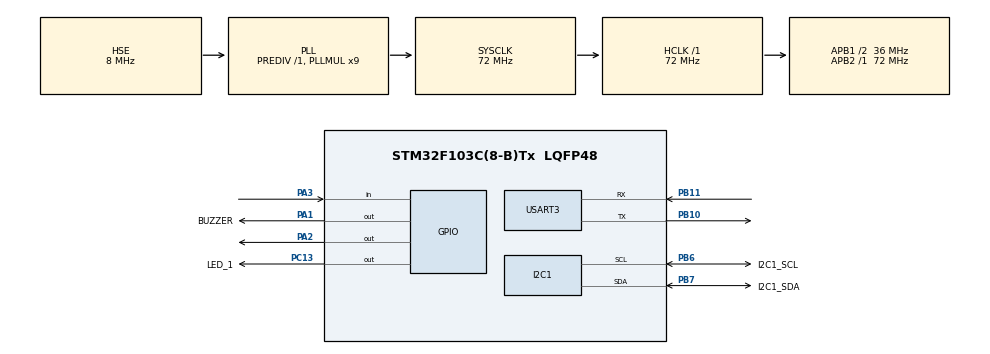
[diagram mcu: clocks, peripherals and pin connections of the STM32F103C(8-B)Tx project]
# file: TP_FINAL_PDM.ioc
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Mcu.Family=STM32F1
Mcu.Name=STM32F103C(8-B)Tx
Mcu.Package=LQFP48
NVIC.PriorityGroup=NVIC_PRIORITYGROUP_4
PA1.GPIO_Label=BUZZER
PA1.Signal=GPIO_Output
PA13.Mode=Serial_Wire
PA13.Signal=SYS_JTMS-SWDIO
PA14.Mode=Serial_Wire
PA14.Signal=SYS_JTCK-SWCLK
PA2.Signal=GPIO_Output
PA3.Signal=GPIO_Input
PB10.Mode=Asynchronous
PB10.Signal=USART3_TX
PB11.Mode=Asynchronous
PB11.Signal=USART3_RX
PB6.GPIO_Label=I2C1_SCL
PB6.Mode=I2C
PB6.Signal=I2C1_SCL
PB7.GPIO_Label=I2C1_SDA
PB7.Mode=I2C
PB7.Signal=I2C1_SDA
PC13-TAMPER-RTC.GPIO_Label=LED_1
PC13-TAMPER-RTC.Signal=GPIO_Output
PC14-OSC32_IN.Mode=LSE-External-Oscillator
PC14-OSC32_IN.Signal=RCC_OSC32_IN
PC15-OSC32_OUT.Mode=LSE-External-Oscillator
PC15-OSC32_OUT.Signal=RCC_OSC32_OUT
PD0-OSC_IN.Mode=HSE-External-Oscillator
PD0-OSC_IN.Signal=RCC_OSC_IN
PD1-OSC_OUT.Mode=HSE-External-Oscillator
PD1-OSC_OUT.Signal=RCC_OSC_OUT
ProjectManager.HeapSize=0x200
ProjectManager.StackSize=0x400
ProjectManager.TargetToolchain=STM32CubeIDE
RCC.AHBFreq_Value=72000000
RCC.APB1CLKDivider=RCC_HCLK_DIV2
RCC.APB1Freq_Value=36000000
RCC.APB1TimFreq_Value=72000000
RCC.APB2Freq_Value=72000000
RCC.APB2TimFreq_Value=72000000
RCC.HCLKFreq_Value=72000000
RCC.PLLMUL=RCC_PLL_MUL9
RCC.PLLSourceVirtual=RCC_PLLSOURCE_HSE
RCC.SYSCLKFreq_VALUE=72000000
RCC.SYSCLKSource=RCC_SYSCLKSOURCE_PLLCLK
RCC.USBFreq_Value=72000000
USART3.VirtualMode=VM_ASYNC
board=custom

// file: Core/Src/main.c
/* USER CODE BEGIN Header */
/**
 ******************************************************************************
 * @file           : main.c
 * @brief          : Main program body
 ******************************************************************************
 * @attention
 *
 * Esta es la implementacion de un sistema de deteccion de caidas, fue desarrollado
 * para la catedra de programacion de microcontroladores. de la carrera de
 * especializacion en sistemas embebidos.
 * El hardware utilizado para dicho programa es un STM32F103C8 (Bluepill) en
 * conjunto a un MPU6050, un buzzer y boton, para más detalle acerca de esto
 * visitar el siguiente repositorio:
 *
 * 	https://github.com/ncettra/PdM_workspace/PFINAL
 *
 * Este desarrollo ha sido realizado utilizando el IDE de STM32Cube, por ende las
 * funciones de la HAL son las propinadas por ellos.
 *
 * Para más informacion acerca del driver del MPU6050 desarrollado para la catedra
 * de protocolos de comunicacion en sistemas embebidos de la misma especializacion
 * visitar el siguiente repositorio:
 *
 * 	https://github.com/ncettra/MPU6050
 *
 *
 ******************************************************************************
 */
/* USER CODE END Header */
#include "main.h"

I2C_HandleTypeDef hi2c1;
UART_HandleTypeDef huart3;
const char* MCU_INIT_MSG = "\n\rStart OK";
const char* MPU6050_ERROR_MSG = "\n\rError! MPU6050 not detected, Rebooting...";
const char* MPU6050_INIT_MSG = "\n\rMPU6050 detected...";

void SystemClock_Config(void);
static void MX_GPIO_Init(void);
static void MX_I2C1_Init(void);
static void MX_USART3_UART_Init(void);

int main(void)
{
	/* USER CODE BEGIN 1 */
	delay_t uartDebugDelay;
	mpu6050_t mpu6050;

	/* USER CODE END 1 */

	/* MCU Configuration--------------------------------------------------------*/

	/* Reset of all peripherals, Initializes the Flash interface and the Systick. */
	HAL_Init();

	/* Configure the system clock */
	SystemClock_Config();

	/* Initialize all configured peripherals */
	MX_GPIO_Init();
	MX_I2C1_Init();
	MX_USART3_UART_Init();
	/* USER CODE BEGIN 2 */
	HAL_GPIO_WritePin(BUZZER_GPIO_Port, BUZZER_Pin,1);
	HAL_Delay(1000);
	HAL_UART_Transmit(&huart3,(uint8_t *)MCU_INIT_MSG,strlen(MCU_INIT_MSG),10);

	//Para debugear por puerto serie
	delayInit(&uartDebugDelay, 2000);
	char formatData[256];

	//Inicializamos el MPU
	while (!mpuInit(&hi2c1)){
		HAL_UART_Transmit(&huart3,(uint8_t*)MPU6050_ERROR_MSG,strlen(MPU6050_ERROR_MSG),10);
		NVIC_SystemReset();
	}
	HAL_UART_Transmit(&huart3,(uint8_t*)MPU6050_INIT_MSG,strlen(MPU6050_INIT_MSG),10);
	initAlertControl(1,5000,&huart3); //Inicio la MEF

	/* USER CODE END 2 */

	/* Infinite loop */
	/* USER CODE BEGIN WHILE */
	while (1)
	{

		mpuUpdate(&hi2c1,&mpu6050); //Actualizamos el estado del mpu
		checkAlertControl(&mpu6050, &huart3); //Chequeamos la MEF
		if(delayRead(&uartDebugDelay)){
			sprintf(formatData,"\n\r MPU6050 incoming data:\n\r\t# Accelerometer (G) --->  x = %.3f  , y = %.3f , z = %.3f\n\r\t# Giroscope   (d/s) --->  x = %.3f , y = %.3f , z = %.3f\n\r\t# Temperature   (d) --->  t = %.2f\n\r" ,
					mpu6050.accX, mpu6050.accY, mpu6050.accZ, mpu6050.angX, mpu6050.angY, mpu6050.angZ, mpu6050.temperature );
			HAL_UART_Transmit(&huart3,(uint8_t*)formatData,strlen(formatData),100);
		}
		/* USER CODE END WHILE */
	}
}

void SystemClock_Config(void)
{
	RCC_OscInitTypeDef RCC_OscInitStruct = {0};
	RCC_ClkInitTypeDef RCC_ClkInitStruct = {0};

	/** Initializes the RCC Oscillators according to the specified parameters
	 * in the RCC_OscInitTypeDef structure.
	 */
	RCC_OscInitStruct.OscillatorType = RCC_OSCILLATORTYPE_HSE;
	RCC_OscInitStruct.HSEState = RCC_HSE_ON;
	RCC_OscInitStruct.HSEPredivValue = RCC_HSE_PREDIV_DIV1;
	RCC_OscInitStruct.HSIState = RCC_HSI_ON;
	RCC_OscInitStruct.PLL.PLLState = RCC_PLL_ON;
	RCC_OscInitStruct.PLL.PLLSource = RCC_PLLSOURCE_HSE;
	RCC_OscInitStruct.PLL.PLLMUL = RCC_PLL_MUL9;
	if (HAL_RCC_OscConfig(&RCC_OscInitStruct) != HAL_OK)
	{
		Error_Handler();
	}

	/** Initializes the CPU, AHB and APB buses clocks
	 */
	RCC_ClkInitStruct.ClockType = RCC_CLOCKTYPE_HCLK|RCC_CLOCKTYPE_SYSCLK
			|RCC_CLOCKTYPE_PCLK1|RCC_CLOCKTYPE_PCLK2;
	RCC_ClkInitStruct.SYSCLKSource = RCC_SYSCLKSOURCE_PLLCLK;
	RCC_ClkInitStruct.AHBCLKDivider = RCC_SYSCLK_DIV1;
	RCC_ClkInitStruct.APB1CLKDivider = RCC_HCLK_DIV2;
	RCC_ClkInitStruct.APB2CLKDivider = RCC_HCLK_DIV1;

	if (HAL_RCC_ClockConfig(&RCC_ClkInitStruct, FLASH_LATENCY_2) != HAL_OK)
	{
		Error_Handler();
	}
}

static void MX_I2C1_Init(void)
{

	hi2c1.Instance = I2C1;
	hi2c1.Init.ClockSpeed = 100000;
	hi2c1.Init.DutyCycle = I2C_DUTYCYCLE_2;
	hi2c1.Init.OwnAddress1 = 0;
	hi2c1.Init.AddressingMode = I2C_ADDRESSINGMODE_7BIT;
	hi2c1.Init.DualAddressMode = I2C_DUALADDRESS_DISABLE;
	hi2c1.Init.OwnAddress2 = 0;
	hi2c1.Init.GeneralCallMode = I2C_GENERALCALL_DISABLE;
	hi2c1.Init.NoStretchMode = I2C_NOSTRETCH_DISABLE;
	if (HAL_I2C_Init(&hi2c1) != HAL_OK)
	{
		Error_Handler();
	}

}

static void MX_USART3_UART_Init(void)
{

	huart3.Instance = USART3;
	huart3.Init.BaudRate = 115200;
	huart3.Init.WordLength = UART_WORDLENGTH_8B;
	huart3.Init.StopBits = UART_STOPBITS_1;
	huart3.Init.Parity = UART_PARITY_NONE;
	huart3.Init.Mode = UART_MODE_TX_RX;
	huart3.Init.HwFlowCtl = UART_HWCONTROL_NONE;
	huart3.Init.OverSampling = UART_OVERSAMPLING_16;
	if (HAL_UART_Init(&huart3) != HAL_OK)
	{
		Error_Handler();
	}

}

static void MX_GPIO_Init(void)
{
	GPIO_InitTypeDef GPIO_InitStruct = {0};

	/* GPIO Ports Clock Enable */
	__HAL_RCC_GPIOC_CLK_ENABLE();
	__HAL_RCC_GPIOD_CLK_ENABLE();
	__HAL_RCC_GPIOA_CLK_ENABLE();
	__HAL_RCC_GPIOB_CLK_ENABLE();

	/*Configure GPIO pin Output Level */
	HAL_GPIO_WritePin(LED_1_GPIO_Port, LED_1_Pin, GPIO_PIN_RESET);

	/*Configure GPIO pin Output Level */
	HAL_GPIO_WritePin(GPIOA, BUZZER_Pin|GPIO_PIN_2, GPIO_PIN_RESET);

	/*Configure GPIO pin : LED_1_Pin */
	GPIO_InitStruct.Pin = LED_1_Pin;
	GPIO_InitStruct.Mode = GPIO_MODE_OUTPUT_PP;
	GPIO_InitStruct.Pull = GPIO_NOPULL;
	GPIO_InitStruct.Speed = GPIO_SPEED_FREQ_LOW;
	HAL_GPIO_Init(LED_1_GPIO_Port, &GPIO_InitStruct);

	/*Configure GPIO pins : BUZZER_Pin PA2 */
	GPIO_InitStruct.Pin = BUZZER_Pin|GPIO_PIN_2;
	GPIO_InitStruct.Mode = GPIO_MODE_OUTPUT_PP;
	GPIO_InitStruct.Pull = GPIO_NOPULL;
	GPIO_InitStruct.Speed = GPIO_SPEED_FREQ_LOW;
	HAL_GPIO_Init(GPIOA, &GPIO_InitStruct);

	/*Configure GPIO pin : PA3 */
	GPIO_InitStruct.Pin = GPIO_PIN_3;
	GPIO_InitStruct.Mode = GPIO_MODE_INPUT;
	GPIO_InitStruct.Pull = GPIO_NOPULL;
	HAL_GPIO_Init(GPIOA, &GPIO_InitStruct);

}

void Error_Handler(void)
{
	__disable_irq();
	while (1)
	{
	}
}
